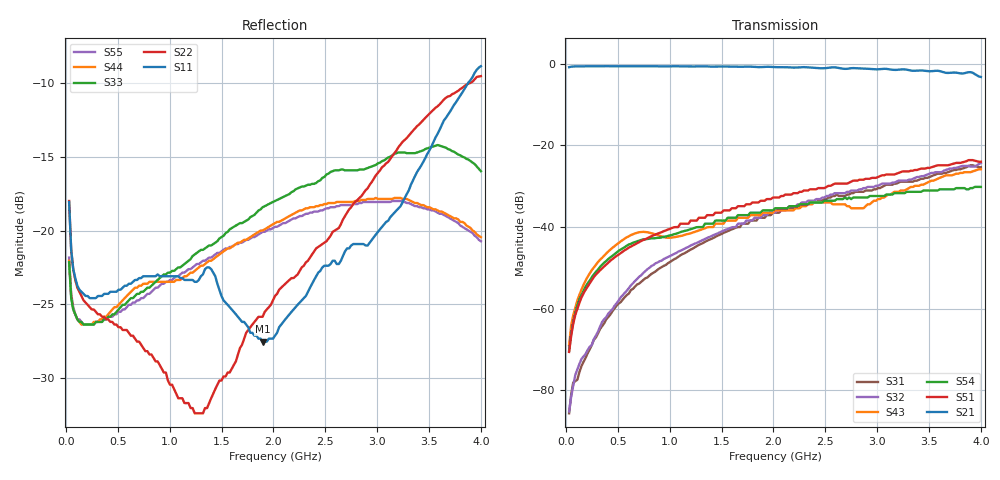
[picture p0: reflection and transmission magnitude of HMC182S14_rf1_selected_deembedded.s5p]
!Hittite Microwave Corporation
!12 Elizabeth Drive
!Chelmsford, MA 01824
!Tel: 978-250-3343
!Fax: 978-250-3373
!Device: HMC182S14, DC-2 GHz GaAS MMIC SP4T Non-Reflective Switch in 14-lead SOIC package
!Misc: Port 1 = RFCom, Port 2 = RF1, Port 3 = RF2, Port 4 = RF3, Port 5 = RF4, RF1 selected, Vctl=0/-5V
# MHZ S MA R 50
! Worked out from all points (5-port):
!   201 points, 30 MHz to 4 GHz, reference 50 ohm
!   strongest paths, dB at 30 MHz, 1.022 GHz, 2.015 GHz, 3.007 GHz, 4 GHz:
!     S21: -0.9, -0.6, -0.8, -1.4, -3.2
!     S51: -70.6, -40.2, -32.8, -27.7, -24.0
!     S54: -70.2, -41.9, -35.4, -32.4, -30.2
!     S43: -68.9, -42.6, -35.9, -33.2, -25.8
!     S32: -85.1, -46.8, -36.5, -29.9, -24.3
!     S31: -85.6, -48.2, -36.5, -30.5, -25.4
!   lowest |S11| = -27.5 dB at 1.896 GHz (marker M1), VSWR 1.09, Z = 46 - j0.0124 ohm
!   |S11| at or under -10 dB: start of sweep to 3.877 GHz
